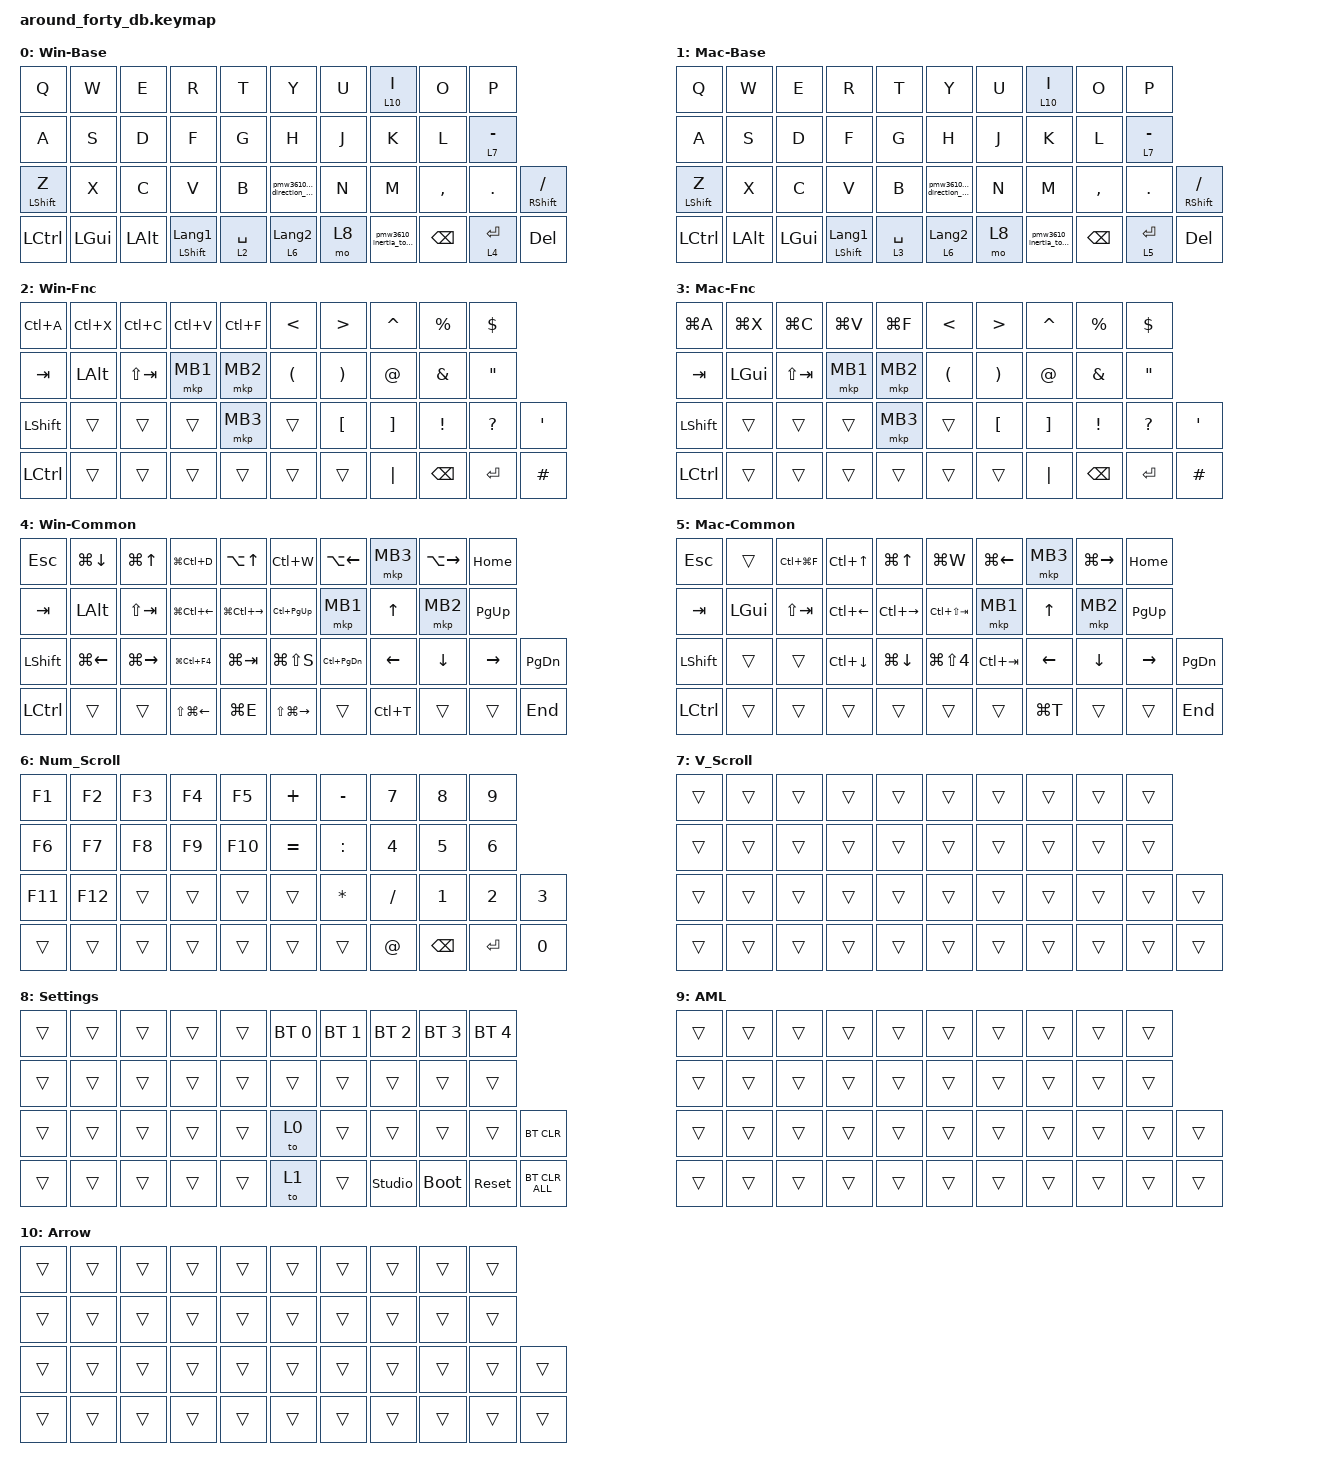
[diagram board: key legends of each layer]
#define MOUSE 6

#include <behaviors/rgbled_widget.dtsi>  // needed to use the behaviors
#include <behaviors.dtsi>
#include <dt-bindings/zmk/bt.h>
#include <dt-bindings/zmk/keys.h>
#include <dt-bindings/zmk/pointing.h>

/* PMW3610 制御 behavior のインクルード */
#include <behaviors/pmw3610_inertia_toggle.dtsi>
#include <behaviors/pmw3610_scroll_direction_toggle.dtsi>
#include <behaviors/pmw3610_horizontal_scroll_direction_toggle.dtsi>

&mt {
    flavor = "balanced";
    quick-tap-ms = <0>;
};

/ {
    combos {
        compatible = "zmk,combos";

        Escape {
            bindings = <&kp ESCAPE>;
            key-positions = <0 1>;
        };
    };

    macros {
        to_layer_0: to_layer_0 {
            compatible = "zmk,behavior-macro-one-param";
            #binding-cells = <1>;
            bindings = <&to 0 &macro_param_1to1 &kp MACRO_PLACEHOLDER>;
            label = "TO_LAYER_0";
        };

        // Windows用：Alt + Grave (~)

        ime_tog: ime_toggle {
            compatible = "zmk,behavior-macro";
            #binding-cells = <0>;
            bindings =
                <&macro_press>,
                <&kp LALT>,
                <&macro_tap>,
                <&kp GRAVE>,
                <&macro_release>,
                <&kp LALT>;
        };

        // macOS用：Ctrl + Space

        mac_ime: mac_ime_toggle {
            compatible = "zmk,behavior-macro";
            #binding-cells = <0>;
            bindings =
                <&macro_press>,
                <&kp LCTRL>,
                <&macro_tap>,
                <&kp SPACE>,
                <&macro_release>,
                <&kp LCTRL>;
        };
    };

    behaviors {
        pmw3610_inertia_toggle: pmw3610_inertia_toggle {
            compatible = "zmk,behavior-pmw3610-inertia-toggle";
            #binding-cells = <0>;
            display-name = "PMW3610 Inertia Toggle";
        };

        pmw3610_scroll_direction_toggle: pmw3610_scroll_direction_toggle {
            compatible = "zmk,behavior-pmw3610-scroll-direction-toggle";
            #binding-cells = <0>;
            display-name = "PMW3610 Vertical Scroll Direction Toggle";
        };

        pmw3610_horizontal_scroll_direction_toggle: pmw3610_horizontal_scroll_direction_toggle {
            compatible = "zmk,behavior-pmw3610-horizontal-scroll-direction-toggle";
            #binding-cells = <0>;
            display-name = "PMW3610 Horizontal Scroll Direction Toggle";
        };

        lt_to_layer_0: lt_to_layer_0 {
            compatible = "zmk,behavior-hold-tap";
            label = "LAYER_TAP_TO_0";
            bindings = <&mo>, <&to_layer_0>;

            #binding-cells = <2>;
            tapping-term-ms = <200>;
        };

        scroll_up_down: behavior_sensor_rotate_mouse_wheel_up_down {
            compatible = "zmk,behavior-sensor-rotate";
            #sensor-binding-cells = <0>;
            bindings = <&msc SCRL_UP>, <&msc SCRL_DOWN>;

            label = "SCROLL_UP_DOWN";
            tap-ms = <20>;
        };
    };

    keymap {
        compatible = "zmk,keymap";

        Win-Base {
            bindings = <
&kp Q             &kp W     &kp E     &kp R                 &kp T        &kp Y                             &kp U  &lt 10 I                 &kp O          &kp P
&kp A             &kp S     &kp D     &kp F                 &kp G        &kp H                             &kp J  &kp K                    &kp L          &lt 7 MINUS
&mt LEFT_SHIFT Z  &kp X     &kp C     &kp V                 &kp B        &pmw3610_scroll_direction_toggle  &kp N  &kp M                    &kp COMMA      &kp DOT      &mt RIGHT_SHIFT SLASH
&kp LCTRL         &kp LGUI  &kp LALT  &mt LSHFT LANGUAGE_1  &lt 2 SPACE  &lt 6 LANGUAGE_2                  &mo 8  &pmw3610_inertia_toggle  &kp BACKSPACE  &lt 4 ENTER  &kp DEL
            >;
        };

        Mac-Base {
            bindings = <
&kp Q             &kp W         &kp E         &kp R                 &kp T        &kp Y                             &kp U  &lt 10 I                 &kp O          &kp P
&kp A             &kp S         &kp D         &kp F                 &kp G        &kp H                             &kp J  &kp K                    &kp L          &lt 7 MINUS
&mt LEFT_SHIFT Z  &kp X         &kp C         &kp V                 &kp B        &pmw3610_scroll_direction_toggle  &kp N  &kp M                    &kp COMMA      &kp DOT      &mt RIGHT_SHIFT SLASH
&kp LCTRL         &kp LEFT_ALT  &kp LEFT_GUI  &mt LSHFT LANGUAGE_1  &lt 3 SPACE  &lt 6 LANGUAGE_2                  &mo 8  &pmw3610_inertia_toggle  &kp BACKSPACE  &lt 5 ENTER  &kp DEL
            >;
        };

        Win-Fnc {
            bindings = <
&kp LC(A)       &kp LC(X)     &kp LC(C)    &kp LC(V)  &kp LC(F)  &kp LESS_THAN         &kp GREATER_THAN       &kp CARET          &kp PERCENT      &kp DOLLAR
&kp TAB         &kp LEFT_ALT  &kp LS(TAB)  &mkp MB1   &mkp MB2   &kp LEFT_PARENTHESIS  &kp RIGHT_PARENTHESIS  &kp AT_SIGN        &kp AMPERSAND    &kp DOUBLE_QUOTES
&kp LEFT_SHIFT  &trans        &trans       &trans     &mkp MB3   &trans                &kp LEFT_BRACKET       &kp RIGHT_BRACKET  &kp EXCLAMATION  &kp QUESTION       &kp SINGLE_QUOTE
&kp LCTRL       &trans        &trans       &trans     &trans     &trans                &trans                 &kp PIPE           &kp BACKSPACE    &kp ENTER          &kp HASH
            >;
        };

        Mac-Fnc {
            bindings = <
&kp LG(A)       &kp LG(X)     &kp LG(C)    &kp LG(V)  &kp LG(F)  &kp LESS_THAN         &kp GREATER_THAN       &kp CARET          &kp PERCENT      &kp DOLLAR
&kp TAB         &kp LEFT_GUI  &kp LS(TAB)  &mkp MB1   &mkp MB2   &kp LEFT_PARENTHESIS  &kp RIGHT_PARENTHESIS  &kp AT_SIGN        &kp AMPERSAND    &kp DOUBLE_QUOTES
&kp LEFT_SHIFT  &trans        &trans       &trans     &mkp MB3   &trans                &kp LEFT_BRACKET       &kp RIGHT_BRACKET  &kp EXCLAMATION  &kp QUESTION       &kp SINGLE_QUOTE
&kp LCTRL       &trans        &trans       &trans     &trans     &trans                &trans                 &kp PIPE           &kp BACKSPACE    &kp ENTER          &kp HASH
            >;
        };

        Win-Common {
            bindings = <
&kp ESC    &kp LG(DOWN_ARROW)  &kp LG(UP_ARROW)     &kp LG(LC(D))           &kp LA(UP_ARROW)         &kp LC(W)                &kp LA(LEFT_ARROW)  &mkp MB3        &kp LA(RIGHT_ARROW)  &kp HOME
&kp TAB    &kp LEFT_ALT        &kp LS(TAB)          &kp LG(LC(LEFT_ARROW))  &kp LG(LC(RIGHT_ARROW))  &kp LC(PAGE_UP)          &mkp MB1            &kp UP_ARROW    &mkp MB2             &kp PAGE_UP
&kp LSHFT  &kp LG(LEFT_ARROW)  &kp LG(RIGHT_ARROW)  &kp LG(LC(F4))          &kp LG(TAB)              &kp LG(LS(S))            &kp LC(PAGE_DOWN)   &kp LEFT_ARROW  &kp DOWN_ARROW       &kp RIGHT_ARROW  &kp PAGE_DOWN
&kp LCTRL  &trans              &trans               &kp LS(LG(LEFT_ARROW))  &kp LG(E)                &kp LS(LG(RIGHT_ARROW))  &trans              &kp LC(T)       &trans               &trans           &kp END
            >;
        };

        Mac-Common {
            bindings = <
&kp ESC    &trans        &kp LC(LG(F))  &kp LC(UP_ARROW)    &kp LG(UP_ARROW)     &kp LG(W)             &kp LG(LEFT_ARROW)  &mkp MB3        &kp LG(RIGHT_ARROW)  &kp HOME
&kp TAB    &kp LEFT_GUI  &kp LS(TAB)    &kp LC(LEFT_ARROW)  &kp LC(RIGHT_ARROW)  &kp LC(LS(TAB))       &mkp MB1            &kp UP_ARROW    &mkp MB2             &kp PAGE_UP
&kp LSHFT  &trans        &trans         &kp LC(DOWN_ARROW)  &kp LG(DOWN_ARROW)   &kp LG(LS(NUMBER_4))  &kp LC(TAB)         &kp LEFT_ARROW  &kp DOWN_ARROW       &kp RIGHT_ARROW  &kp PAGE_DOWN
&kp LCTRL  &trans        &trans         &trans              &trans               &trans                &trans              &kp LG(T)       &trans               &trans           &kp END
            >;
        };

        Num_Scroll {
            bindings = <
&kp F1   &kp F2   &kp F3  &kp F4  &kp F5   &kp PLUS   &kp MINUS     &kp N7       &kp N8    &kp N9
&kp F6   &kp F7   &kp F8  &kp F9  &kp F10  &kp EQUAL  &kp COLON     &kp N4       &kp N5    &kp N6
&kp F11  &kp F12  &trans  &trans  &trans   &trans     &kp ASTERISK  &kp FSLH     &kp N1    &kp N2     &kp N3
&trans   &trans   &trans  &trans  &trans   &trans     &trans        &kp AT_SIGN  &kp BSPC  &kp ENTER  &kp N0
            >;
        };

        V_Scroll {
            bindings = <
&trans  &trans  &trans  &trans  &trans  &trans  &trans  &trans  &trans  &trans
&trans  &trans  &trans  &trans  &trans  &trans  &trans  &trans  &trans  &trans
&trans  &trans  &trans  &trans  &trans  &trans  &trans  &trans  &trans  &trans  &trans
&trans  &trans  &trans  &trans  &trans  &trans  &trans  &trans  &trans  &trans  &trans
            >;
        };

        Settings {
            bindings = <
&trans  &trans  &trans  &trans  &trans  &bt BT_SEL 0  &bt BT_SEL 1  &bt BT_SEL 2    &bt BT_SEL 3  &bt BT_SEL 4
&trans  &trans  &trans  &trans  &trans  &trans        &trans        &trans          &trans        &trans
&trans  &trans  &trans  &trans  &trans  &to 0         &trans        &trans          &trans        &trans        &bt BT_CLR
&trans  &trans  &trans  &trans  &trans  &to 1         &trans        &studio_unlock  &bootloader   &sys_reset    &bt BT_CLR_ALL
            >;
        };

        AML {
            bindings = <
&trans  &trans  &trans  &trans  &trans  &trans  &trans  &trans  &trans  &trans
&trans  &trans  &trans  &trans  &trans  &trans  &trans  &trans  &trans  &trans
&trans  &trans  &trans  &trans  &trans  &trans  &trans  &trans  &trans  &trans  &trans
&trans  &trans  &trans  &trans  &trans  &trans  &trans  &trans  &trans  &trans  &trans
            >;
        };

        Arrow {
            bindings = <
&trans  &trans  &trans  &trans  &trans  &trans  &trans  &trans  &trans  &trans
&trans  &trans  &trans  &trans  &trans  &trans  &trans  &trans  &trans  &trans
&trans  &trans  &trans  &trans  &trans  &trans  &trans  &trans  &trans  &trans  &trans
&trans  &trans  &trans  &trans  &trans  &trans  &trans  &trans  &trans  &trans  &trans
            >;
        };
    };
};
